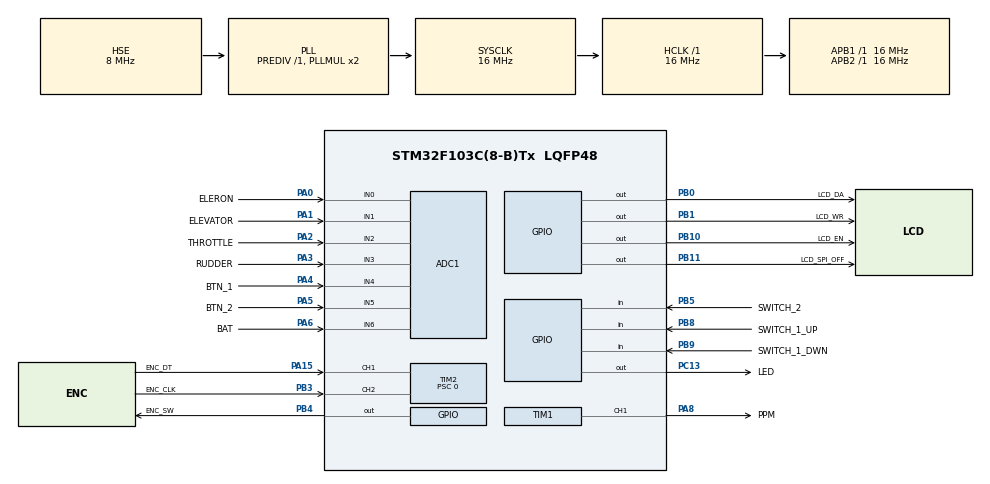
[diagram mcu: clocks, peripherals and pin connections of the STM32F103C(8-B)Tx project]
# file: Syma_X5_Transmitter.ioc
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ADC1.Channel-0\#ChannelRegularConversion=ADC_CHANNEL_0
ADC1.Channel-1\#ChannelRegularConversion=ADC_CHANNEL_1
ADC1.Channel-2\#ChannelRegularConversion=ADC_CHANNEL_2
ADC1.Channel-3\#ChannelRegularConversion=ADC_CHANNEL_3
ADC1.Channel-4\#ChannelRegularConversion=ADC_CHANNEL_4
ADC1.Channel-5\#ChannelRegularConversion=ADC_CHANNEL_5
ADC1.Channel-6\#ChannelRegularConversion=ADC_CHANNEL_6
ADC1.ContinuousConvMode=ENABLE
ADC1.NbrOfConversion=7
ADC1.NbrOfConversionFlag=1
ADC1.Rank-0\#ChannelRegularConversion=1
ADC1.Rank-1\#ChannelRegularConversion=2
ADC1.Rank-2\#ChannelRegularConversion=3
ADC1.Rank-3\#ChannelRegularConversion=4
ADC1.Rank-4\#ChannelRegularConversion=5
ADC1.Rank-5\#ChannelRegularConversion=6
ADC1.Rank-6\#ChannelRegularConversion=7
ADC1.SamplingTime-0\#ChannelRegularConversion=ADC_SAMPLETIME_239CYCLES_5
ADC1.SamplingTime-1\#ChannelRegularConversion=ADC_SAMPLETIME_239CYCLES_5
ADC1.SamplingTime-2\#ChannelRegularConversion=ADC_SAMPLETIME_239CYCLES_5
ADC1.SamplingTime-3\#ChannelRegularConversion=ADC_SAMPLETIME_239CYCLES_5
ADC1.SamplingTime-4\#ChannelRegularConversion=ADC_SAMPLETIME_239CYCLES_5
ADC1.SamplingTime-5\#ChannelRegularConversion=ADC_SAMPLETIME_239CYCLES_5
ADC1.SamplingTime-6\#ChannelRegularConversion=ADC_SAMPLETIME_239CYCLES_5
ADC1.master=1
Dma.ADC1.0.Direction=DMA_PERIPH_TO_MEMORY
Dma.ADC1.0.Instance=DMA1_Channel1
Dma.ADC1.0.MemDataAlignment=DMA_MDATAALIGN_HALFWORD
Dma.ADC1.0.MemInc=DMA_MINC_ENABLE
Dma.ADC1.0.Mode=DMA_CIRCULAR
Dma.ADC1.0.PeriphDataAlignment=DMA_PDATAALIGN_HALFWORD
Dma.ADC1.0.PeriphInc=DMA_PINC_DISABLE
Dma.ADC1.0.Priority=DMA_PRIORITY_MEDIUM
Dma.Request0=ADC1
FREERTOS.Tasks01=defaultTask,0,128,StartDefaultTask,Default,NULL,Dynamic,NULL,NULL;MenyTask,0,128,StartMenuTask,Default,NULL,Dynamic,NULL,NULL;BtnTask,0,128,StartBtnTask,Default,NULL,Dynamic,NULL,NULL
Mcu.Family=STM32F1
Mcu.Name=STM32F103C(8-B)Tx
Mcu.Package=LQFP48
NVIC.DMA1_Channel1_IRQn=true\:5\:0\:false\:false\:true\:true\:false
NVIC.PriorityGroup=NVIC_PRIORITYGROUP_4
NVIC.TIM1_UP_IRQn=true\:5\:0\:false\:false\:true\:true\:true
NVIC.TIM4_IRQn=true\:0\:0\:false\:false\:true\:false\:false
NVIC.TimeBase=TIM4_IRQn
NVIC.TimeBaseIP=TIM4
PA0-WKUP.GPIO_Label=ELERON
PA0-WKUP.Signal=ADCx_IN0
PA1.GPIO_Label=ELEVATOR
PA1.Signal=ADCx_IN1
PA13.Mode=Serial_Wire
PA13.Signal=SYS_JTMS-SWDIO
PA14.Mode=Serial_Wire
PA14.Signal=SYS_JTCK-SWCLK
PA15.GPIO_Label=ENC_DT
PA15.Signal=S_TIM2_CH1_ETR
PA2.GPIO_Label=THROTTLE
PA2.Signal=ADCx_IN2
PA3.GPIO_Label=RUDDER
PA3.Signal=ADCx_IN3
PA4.GPIO_Label=BTN_1
PA4.Signal=ADCx_IN4
PA5.GPIO_Label=BTN_2
PA5.Signal=ADCx_IN5
PA6.GPIO_Label=BAT
PA6.Signal=ADCx_IN6
PA8.GPIO_Label=PPM
PA8.Signal=S_TIM1_CH1
PB0.GPIO_Label=LCD_DA
PB0.GPIO_ModeDefaultOutputPP=GPIO_MODE_OUTPUT_OD
PB0.GPIO_Speed=GPIO_SPEED_FREQ_MEDIUM
PB0.PinState=GPIO_PIN_SET
PB0.Signal=GPIO_Output
PB1.GPIO_Label=LCD_WR
PB1.GPIO_ModeDefaultOutputPP=GPIO_MODE_OUTPUT_OD
PB1.GPIO_Speed=GPIO_SPEED_FREQ_MEDIUM
PB1.PinState=GPIO_PIN_SET
PB1.Signal=GPIO_Output
PB10.GPIO_Label=LCD_EN
PB10.GPIO_ModeDefaultOutputPP=GPIO_MODE_OUTPUT_OD
PB10.PinState=GPIO_PIN_SET
PB10.Signal=GPIO_Output
PB11.GPIO_Label=LCD_SPI_OFF
PB11.GPIO_ModeDefaultOutputPP=GPIO_MODE_OUTPUT_PP
PB11.PinState=GPIO_PIN_SET
PB11.Signal=GPIO_Output
PB3.GPIO_Label=ENC_CLK
PB3.Signal=S_TIM2_CH2
PB4.GPIO_Label=ENC_SW
PB4.GPIO_Speed=GPIO_SPEED_FREQ_MEDIUM
PB4.PinState=GPIO_PIN_SET
PB4.Signal=GPIO_Output
PB5.GPIO_Label=SWITCH_2
PB5.GPIO_PuPd=GPIO_PULLUP
PB5.Signal=GPIO_Input
PB8.GPIO_Label=SWITCH_1_UP
PB8.GPIO_PuPd=GPIO_PULLUP
PB8.Signal=GPIO_Input
PB9.GPIO_Label=SWITCH_1_DWN
PB9.GPIO_PuPd=GPIO_PULLUP
PB9.Signal=GPIO_Input
PC13-TAMPER-RTC.GPIO_Label=LED
PC13-TAMPER-RTC.Signal=GPIO_Output
PD0-OSC_IN.Mode=HSE-External-Oscillator
PD0-OSC_IN.Signal=RCC_OSC_IN
PD1-OSC_OUT.Mode=HSE-External-Oscillator
PD1-OSC_OUT.Signal=RCC_OSC_OUT
ProjectManager.HeapSize=0x200
ProjectManager.StackSize=0x400
ProjectManager.TargetToolchain=MDK-ARM V5
RCC.AHBFreq_Value=16000000
RCC.APB1Freq_Value=16000000
RCC.APB1TimFreq_Value=16000000
RCC.APB2Freq_Value=16000000
RCC.APB2TimFreq_Value=16000000
RCC.HCLKFreq_Value=16000000
RCC.PLLSourceVirtual=RCC_PLLSOURCE_HSE
RCC.SYSCLKFreq_VALUE=16000000
RCC.SYSCLKSource=RCC_SYSCLKSOURCE_PLLCLK
RCC.USBFreq_Value=16000000
RCC.VDD_VALUE=3
SH.ADCx_IN0.0=ADC1_IN0,IN0
SH.ADCx_IN1.0=ADC1_IN1,IN1
SH.ADCx_IN2.0=ADC1_IN2,IN2
SH.ADCx_IN3.0=ADC1_IN3,IN3
SH.ADCx_IN4.0=ADC1_IN4,IN4
SH.ADCx_IN5.0=ADC1_IN5,IN5
SH.ADCx_IN6.0=ADC1_IN6,IN6
SH.S_TIM1_CH1.0=TIM1_CH1,PWM Generation1 CH1
SH.S_TIM2_CH1_ETR.0=TIM2_CH1,Encoder_Interface
SH.S_TIM2_CH2.0=TIM2_CH2,Encoder_Interface
TIM1.Channel-PWM\ Generation1\ CH1=TIM_CHANNEL_1
TIM1.OCPolarity_1=TIM_OCPOLARITY_LOW
TIM1.Prescaler=15
TIM2.EncoderMode=TIM_ENCODERMODE_TI12
TIM2.IC1Filter=5
TIM2.IC1Prescaler=TIM_ICPSC_DIV2
TIM2.IC2Filter=5
TIM2.IC2Prescaler=TIM_ICPSC_DIV2
TIM2.Period=15999
TIM2.Prescaler=0
VP_FREERTOS_VS_ENABLE.Mode=Enabled
VP_SYS_VS_tim4.Mode=TIM4
VP_TIM1_VS_ClockSourceINT.Mode=Internal
board=custom

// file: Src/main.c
/* USER CODE BEGIN Header */
/**
  ******************************************************************************
  * @file           : main.c
  * @brief          : Main program body
  ******************************************************************************
  * This notice applies to any and all portions of this file
  * that are not between comment pairs USER CODE BEGIN and
  * USER CODE END. Other portions of this file, whether
  * inserted by the user or by software development tools
  * are owned by their respective copyright owners.
  *
  * Copyright (c) 2019 STMicroelectronics International N.V.
  * All rights reserved.
  *
  * Redistribution and use in source and binary forms, with or without
  * modification, are permitted, provided that the following conditions are met:
  *
  * 1. Redistribution of source code must retain the above copyright notice,
  *    this list of conditions and the following disclaimer.
  * 2. Redistributions in binary form must reproduce the above copyright notice,
  *    this list of conditions and the following disclaimer in the documentation
  *    and/or other materials provided with the distribution.
  * 3. Neither the name of STMicroelectronics nor the names of other
  *    contributors to this software may be used to endorse or promote products
  *    derived from this software without specific written permission.
  * 4. This software, including modifications and/or derivative works of this
  *    software, must execute solely and exclusively on microcontroller or
  *    microprocessor devices manufactured by or for STMicroelectronics.
  * 5. Redistribution and use of this software other than as permitted under
  *    this license is void and will automatically terminate your rights under
  *    this license.
  *
  * THIS SOFTWARE IS PROVIDED BY STMICROELECTRONICS AND CONTRIBUTORS "AS IS"
  * AND ANY EXPRESS, IMPLIED OR STATUTORY WARRANTIES, INCLUDING, BUT NOT
  * LIMITED TO, THE IMPLIED WARRANTIES OF MERCHANTABILITY, FITNESS FOR A
  * PARTICULAR PURPOSE AND NON-INFRINGEMENT OF THIRD PARTY INTELLECTUAL PROPERTY
  * RIGHTS ARE DISCLAIMED TO THE FULLEST EXTENT PERMITTED BY LAW. IN NO EVENT
  * SHALL STMICROELECTRONICS OR CONTRIBUTORS BE LIABLE FOR ANY DIRECT, INDIRECT,
  * INCIDENTAL, SPECIAL, EXEMPLARY, OR CONSEQUENTIAL DAMAGES (INCLUDING, BUT NOT
  * LIMITED TO, PROCUREMENT OF SUBSTITUTE GOODS OR SERVICES; LOSS OF USE, DATA,
  * OR PROFITS; OR BUSINESS INTERRUPTION) HOWEVER CAUSED AND ON ANY THEORY OF
  * LIABILITY, WHETHER IN CONTRACT, STRICT LIABILITY, OR TORT (INCLUDING
  * NEGLIGENCE OR OTHERWISE) ARISING IN ANY WAY OUT OF THE USE OF THIS SOFTWARE,
  * EVEN IF ADVISED OF THE POSSIBILITY OF SUCH DAMAGE.
  *
  ******************************************************************************
  */
/* USER CODE END Header */

#include "main.h"
#include "cmsis_os.h"
#include "adc.h"
#include "dma.h"
#include "tim.h"
#include "gpio.h"

void SystemClock_Config(void);
void MX_FREERTOS_Init(void);

int main(void)
{

  /* MCU Configuration--------------------------------------------------------*/

  /* Reset of all peripherals, Initializes the Flash interface and the Systick. */
  HAL_Init();

  /* Configure the system clock */
  SystemClock_Config();

  /* Initialize all configured peripherals */
  MX_GPIO_Init();
  MX_DMA_Init();
  MX_ADC1_Init();
  MX_TIM1_Init();
  MX_TIM2_Init();
  /* USER CODE BEGIN 2 */

	HAL_Delay(500);

  /* USER CODE END 2 */

  /* Call init function for freertos objects (in freertos.c) */
  MX_FREERTOS_Init();

  /* Start scheduler */
  osKernelStart();

  /* We should never get here as control is now taken by the scheduler */

  /* Infinite loop */
  while (1)
  {

  }
}

void SystemClock_Config(void)
{
  RCC_OscInitTypeDef RCC_OscInitStruct = {0};
  RCC_ClkInitTypeDef RCC_ClkInitStruct = {0};
  RCC_PeriphCLKInitTypeDef PeriphClkInit = {0};

  /**Initializes the CPU, AHB and APB busses clocks
  */
  RCC_OscInitStruct.OscillatorType = RCC_OSCILLATORTYPE_HSE;
  RCC_OscInitStruct.HSEState = RCC_HSE_ON;
  RCC_OscInitStruct.HSEPredivValue = RCC_HSE_PREDIV_DIV1;
  RCC_OscInitStruct.HSIState = RCC_HSI_ON;
  RCC_OscInitStruct.PLL.PLLState = RCC_PLL_ON;
  RCC_OscInitStruct.PLL.PLLSource = RCC_PLLSOURCE_HSE;
  RCC_OscInitStruct.PLL.PLLMUL = RCC_PLL_MUL2;
  if (HAL_RCC_OscConfig(&RCC_OscInitStruct) != HAL_OK)
  {
    Error_Handler();
  }
  /**Initializes the CPU, AHB and APB busses clocks
  */
  RCC_ClkInitStruct.ClockType = RCC_CLOCKTYPE_HCLK|RCC_CLOCKTYPE_SYSCLK
                              |RCC_CLOCKTYPE_PCLK1|RCC_CLOCKTYPE_PCLK2;
  RCC_ClkInitStruct.SYSCLKSource = RCC_SYSCLKSOURCE_PLLCLK;
  RCC_ClkInitStruct.AHBCLKDivider = RCC_SYSCLK_DIV1;
  RCC_ClkInitStruct.APB1CLKDivider = RCC_HCLK_DIV1;
  RCC_ClkInitStruct.APB2CLKDivider = RCC_HCLK_DIV1;

  if (HAL_RCC_ClockConfig(&RCC_ClkInitStruct, FLASH_LATENCY_0) != HAL_OK)
  {
    Error_Handler();
  }
  PeriphClkInit.PeriphClockSelection = RCC_PERIPHCLK_ADC;
  PeriphClkInit.AdcClockSelection = RCC_ADCPCLK2_DIV2;
  if (HAL_RCCEx_PeriphCLKConfig(&PeriphClkInit) != HAL_OK)
  {
    Error_Handler();
  }
}

void HAL_TIM_PeriodElapsedCallback(TIM_HandleTypeDef *htim)
{
  if (htim->Instance == TIM4) {
    HAL_IncTick();
  }
}

void Error_Handler(void)
{
}

/************************ (C) COPYRIGHT STMicroelectronics *****END OF FILE****/

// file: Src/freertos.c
/* USER CODE BEGIN Header */
/**
  ******************************************************************************
  * File Name          : freertos.c
  * Description        : Code for freertos applications
  ******************************************************************************
  * This notice applies to any and all portions of this file
  * that are not between comment pairs USER CODE BEGIN and
  * USER CODE END. Other portions of this file, whether
  * inserted by the user or by software development tools
  * are owned by their respective copyright owners.
  *
  * Copyright (c) 2019 STMicroelectronics International N.V.
  * All rights reserved.
  *
  * Redistribution and use in source and binary forms, with or without
  * modification, are permitted, provided that the following conditions are met:
  *
  * 1. Redistribution of source code must retain the above copyright notice,
  *    this list of conditions and the following disclaimer.
  * 2. Redistributions in binary form must reproduce the above copyright notice,
  *    this list of conditions and the following disclaimer in the documentation
  *    and/or other materials provided with the distribution.
  * 3. Neither the name of STMicroelectronics nor the names of other
  *    contributors to this software may be used to endorse or promote products
  *    derived from this software without specific written permission.
  * 4. This software, including modifications and/or derivative works of this
  *    software, must execute solely and exclusively on microcontroller or
  *    microprocessor devices manufactured by or for STMicroelectronics.
  * 5. Redistribution and use of this software other than as permitted under
  *    this license is void and will automatically terminate your rights under
  *    this license.
  *
  * THIS SOFTWARE IS PROVIDED BY STMICROELECTRONICS AND CONTRIBUTORS "AS IS"
  * AND ANY EXPRESS, IMPLIED OR STATUTORY WARRANTIES, INCLUDING, BUT NOT
  * LIMITED TO, THE IMPLIED WARRANTIES OF MERCHANTABILITY, FITNESS FOR A
  * PARTICULAR PURPOSE AND NON-INFRINGEMENT OF THIRD PARTY INTELLECTUAL PROPERTY
  * RIGHTS ARE DISCLAIMED TO THE FULLEST EXTENT PERMITTED BY LAW. IN NO EVENT
  * SHALL STMICROELECTRONICS OR CONTRIBUTORS BE LIABLE FOR ANY DIRECT, INDIRECT,
  * INCIDENTAL, SPECIAL, EXEMPLARY, OR CONSEQUENTIAL DAMAGES (INCLUDING, BUT NOT
  * LIMITED TO, PROCUREMENT OF SUBSTITUTE GOODS OR SERVICES; LOSS OF USE, DATA,
  * OR PROFITS; OR BUSINESS INTERRUPTION) HOWEVER CAUSED AND ON ANY THEORY OF
  * LIABILITY, WHETHER IN CONTRACT, STRICT LIABILITY, OR TORT (INCLUDING
  * NEGLIGENCE OR OTHERWISE) ARISING IN ANY WAY OUT OF THE USE OF THIS SOFTWARE,
  * EVEN IF ADVISED OF THE POSSIBILITY OF SUCH DAMAGE.
  *
  ******************************************************************************
  */
/* USER CODE END Header */

#include "FreeRTOS.h"
#include "task.h"
#include "main.h"
#include "cmsis_os.h"

/* USER CODE BEGIN Includes */
#include "LCD_baomei_bm-8001b.h"
#include "tim.h"
#include "adc.h"
#include "dma.h"
#include "math.h"
/* USER CODE END Includes */

/* USER CODE BEGIN PD */
#define SWITCH_2 HAL_GPIO_ReadPin(SWITCH_2_GPIO_Port, SWITCH_2_Pin) == GPIO_PIN_RESET

#define SW1_UP   HAL_GPIO_ReadPin(SWITCH_1_UP_GPIO_Port, SWITCH_1_UP_Pin)
#define SW1_DOWN HAL_GPIO_ReadPin(SWITCH_1_DWN_GPIO_Port, SWITCH_1_DWN_Pin)

#define PWM TIM1->CCR1
#define ARR TIM1->ARR

#define BTN(x,y) (x>(y-100))&&(x<(y+100))

#define RUD_R 1390
#define RUD_L 2048

#define THR_UP 0
#define THR_DOWN 700

#define BTN_TOP 2740

#define ELV_UP 0
#define ELV_DOWN 700

#define ELR_L 2090
#define ELR_R 1390

/* USER CODE END PD */

/* USER CODE BEGIN Variables */
uint8_t TrainerActive = 0;

int8_t EncoderTmp = 0, Encoder = 0;

//----------------ADC--------------------//
uint16_t ADC_Data[7];
float alpha = 0.2;
uint16_t i = 0;
extern uint16_t channel[9];

struct channel_t {
	float inMin;
	float inCent;
	float inMax;
	float outMin;
	float outCent;
	float outMax;
	float koefUp;
	float koefDown;
	float koefUpOut;
	float koefDownOut;
	float exponent;
	float rate;
	float output;
	uint8_t inverse;
};

struct channel_t ch1, ch2, ch3, ch4;

struct button_t {
	uint8_t down;
	uint8_t up;
	uint16_t downTime;
	uint16_t upTime;
	uint8_t read;
};

struct button_t
	trimCh3 = {0,0,0,1,0},
	trimCh4L = {0,0,0,1,0},
	trimCh4R = {0,0,0,1,0},
	trimCh1L = {0,0,0,1,0},
	trimCh1R = {0,0,0,1,0},
	trimCh2U = {0,0,0,1,0},
	trimCh2D = {0,0,0,1,0},
	btnL    = {0,0,0,1,0},
	btnR    = {0,0,0,1,0};

uint16_t BtnLeft, BtnRight;
uint8_t switch1 = 0;
uint16_t ADC_Calibrate_0 = 0, ADC_Calibrate_1 = 0, ADC_Calibrate_2 = 0, ADC_Calibrate_3 = 0;
//----------------ADC--------------------//
/* USER CODE END Variables */
osThreadId defaultTaskHandle;
osThreadId MenyTaskHandle;
osThreadId BtnTaskHandle;

/* USER CODE BEGIN FunctionPrototypes */

void adcInit(void);
void adcWork(void);
void encoderWork(void);
void init(struct channel_t *ch);
float calc(float input, struct channel_t *ch);
void button(void);

/* USER CODE END FunctionPrototypes */

void StartDefaultTask(void const * argument);
void StartMenuTask(void const * argument);
void StartBtnTask(void const * argument);

void MX_FREERTOS_Init(void); /* (MISRA C 2004 rule 8.1) */

void MX_FREERTOS_Init(void) {

  /* Create the thread(s) */
  /* definition and creation of defaultTask */
  osThreadDef(defaultTask, StartDefaultTask, osPriorityNormal, 0, 128);
  defaultTaskHandle = osThreadCreate(osThread(defaultTask), NULL);

  /* definition and creation of MenyTask */
  osThreadDef(MenyTask, StartMenuTask, osPriorityNormal, 0, 128);
  MenyTaskHandle = osThreadCreate(osThread(MenyTask), NULL);

  /* definition and creation of BtnTask */
  osThreadDef(BtnTask, StartBtnTask, osPriorityNormal, 0, 128);
  BtnTaskHandle = osThreadCreate(osThread(BtnTask), NULL);

}

void StartDefaultTask(void const * argument)
{

  /* USER CODE BEGIN StartDefaultTask */
  /* Infinite loop */
  for(;;)
  {
		if (TrainerActive) {
			LCD_Update();

			if ((SW1_UP == GPIO_PIN_SET) && (SW1_DOWN == GPIO_PIN_SET)) {
				switch1 = 1;
				ch1.rate = 0.8;
				ch2.rate = 0.8;
				ch4.rate = 0.8;
			} else if ((SW1_UP == GPIO_PIN_RESET) && (SW1_DOWN == GPIO_PIN_SET)) {
				switch1 = 0;
				ch1.rate = 1;
				ch2.rate = 1;
				ch4.rate = 1;
			} else if ((SW1_UP == GPIO_PIN_SET) && (SW1_DOWN == GPIO_PIN_RESET)) {
				switch1 = 2;
				ch1.rate = 0.6;
				ch2.rate = 0.6;
				ch4.rate = 0.6;
			}
		}
    osDelay(10);
  }
  /* USER CODE END StartDefaultTask */
}

void StartMenuTask(void const * argument)
{
  for(;;)
  {
    osDelay(1);
  }
}

void StartBtnTask(void const * argument)
{
  /* USER CODE BEGIN StartBtnTask */
  /* Infinite loop */
  for(;;)
  {

		if (SWITCH_2) {
			LCD_On();
			if (!TrainerActive) {
				TrainerActive = 1;
				HAL_TIM_Encoder_Start(&htim2,TIM_CHANNEL_ALL);
				TIM2->CNT = 20;

				while(HAL_ADCEx_Calibration_Start(&hadc1) != HAL_OK); // калибровка АЦП

				HAL_ADC_Start_DMA(&hadc1,(uint32_t*) &ADC_Data, 7);

				adcInit();

				ch3.exponent = (50.0/100.0)*1.0;

				HAL_TIM_PWM_Start(&htim1, TIM_CHANNEL_1);
				HAL_TIM_Base_Start_IT(&htim1);
				PWM = 400;
				ARR = 1500; // ARR 110 - 1.11mS, 150 - 1.51mS, 192 - 1.931mS
			}

			encoderWork();

			adcWork();

			BtnLeft = ADC_Data[4];
			BtnRight = ADC_Data[5];

			button();

			LcdNumber((uint8_t) Encoder);
			//LCD_Update();
		} else {
			LCD_Off();
			HAL_TIM_Encoder_Stop(&htim2, TIM_CHANNEL_ALL);
			HAL_ADC_Stop_DMA(&hadc1);
			TrainerActive = 0;

			HAL_TIM_PWM_Stop(&htim1, TIM_CHANNEL_1);
			HAL_TIM_Base_Stop_IT(&htim1);
		}

    osDelay(1);
  }
  /* USER CODE END StartBtnTask */
}

/* USER CODE BEGIN Application */
void init(struct channel_t *ch) {
	ch->inMin = 0.0;
	ch->inCent = 2048.0;
	ch->inMax = 4085.0;

	ch->outMin = 1108.0;
	ch->outCent = 1520.0;
	ch->outMax = 1933.0;

	ch->inverse = 0;
	ch->rate = 1;

	ch->koefUp = ch->inMax-ch->inCent;
  ch->koefDown = ch->inCent - ch->inMin;
  ch->koefUpOut = ch->outMax - ch->outCent;
  ch->koefDownOut = ch->outCent - ch->outMin;
	ch->exponent = (50.0/100.0)*40.0;
}

void trim(struct channel_t *ch, int8_t value) {
	ch->outCent += value;

	ch->koefUp = ch->inMax-ch->inCent;
  ch->koefDown = ch->inCent - ch->inMin;
  ch->koefUpOut = ch->outMax - ch->outCent;
  ch->koefDownOut = ch->outCent - ch->outMin;
}

float calc(float input, struct channel_t *ch) {

	if (ch->inverse) {
		input = ch->inMax - input;
	}

	float tmp;

  if (input >= ch->inCent) {
    tmp = ((float)input - ch->inCent) / ch->koefUp;
    tmp = (powf(ch->exponent,tmp)-1.0)/(ch->exponent-1.0);
    tmp = (tmp * (ch->koefUpOut * ch->rate)) + ch->outCent;
  } else {
    tmp = (ch->inCent - (float)input) / ch->koefDown;
    tmp = (powf(ch->exponent,tmp)-1.0)/(ch->exponent-1.0);
    tmp = ch->outCent - (tmp * (ch->koefDownOut * ch-> rate));
  }

  return roundf(tmp);
}

void adcInit() {
	i = 0;
	while (i < 100) {
		i++;
		ADC_Calibrate_0 = (alpha * ADC_Data[0]) + ((1 - alpha) * ADC_Calibrate_0);
		ADC_Calibrate_1 = (alpha * ADC_Data[1]) + ((1 - alpha) * ADC_Calibrate_1);
		ADC_Calibrate_2 = (alpha * ADC_Data[2]) + ((1 - alpha) * ADC_Calibrate_2);
		ADC_Calibrate_3 = (alpha * ADC_Data[3]) + ((1 - alpha) * ADC_Calibrate_3);

		HAL_Delay(10);
	}
	ch1.inCent = ADC_Calibrate_0;
	ch2.inCent = ADC_Calibrate_1;
	ch3.inCent = ADC_Calibrate_2;
	ch4.inCent = ADC_Calibrate_3;

	init(&ch1);
	init(&ch2);
	init(&ch3);
	init(&ch4);
}

void adcWork() {
	ADC_Calibrate_0 = (alpha * ADC_Data[0]) + ((1 - alpha) * ADC_Calibrate_0);
	ADC_Calibrate_1 = (alpha * ADC_Data[1]) + ((1 - alpha) * ADC_Calibrate_1);
	ADC_Calibrate_2 = (alpha * ADC_Data[2]) + ((1 - alpha) * ADC_Calibrate_2);
	ADC_Calibrate_3 = (alpha * ADC_Data[3]) + ((1 - alpha) * ADC_Calibrate_3);

	ch1.output = calc((float)ADC_Calibrate_0, &ch1);
	ch2.output = calc((float)ADC_Calibrate_1, &ch2);
	ch3.output = calc((float)ADC_Calibrate_2, &ch3);
	ch4.output = calc((float)ADC_Calibrate_3, &ch4);

	channel[1] = (uint16_t)ch1.output;
	channel[0] = (uint16_t)ch2.output;
	channel[2] = (uint16_t)ch3.output;
	channel[3] = (uint16_t)ch4.output;
}

void encoderWork () {
	if (TIM2->CNT % 4 == 0) {
		if (TIM2->CNT > 20) {
			TIM2->CNT = 20;
			if (Encoder > 0)
				Encoder--;
		} else if (TIM2->CNT < 20){
			TIM2->CNT = 20;
			if (Encoder < 119)
				Encoder++;
		}
	}
}

void buttonMachine(struct button_t *trimCh, struct channel_t *ch, uint16_t btn, uint16_t btnConst, int8_t value) {
	if (BTN(btn,btnConst)) {
		if (trimCh->down == 0) {
			trimCh->down = 1;
			trimCh->downTime = 0;
			trimCh->read = 0;
		}
		if (trimCh->downTime < 200)
			trimCh->downTime++;
		else {
			trimCh->downTime = 0;
			trimCh->read = 0;
		}
	} else {
		if (trimCh->down == 1 && trimCh->upTime > 10) {
			trimCh->down = 0;
			trimCh->downTime = 0;
			trimCh->read = 0;
		}
		if (trimCh->upTime <100) trimCh->upTime++;
	}

	if (trimCh->down && trimCh->read == 0) {
		trim(ch, value);
		trimCh->read = 1;
	}
}

void button() {

	buttonMachine(&trimCh4L, &ch4, BtnLeft, RUD_L, -4);
	buttonMachine(&trimCh4R, &ch4, BtnLeft, RUD_R, 4);

	buttonMachine(&trimCh1L, &ch1, BtnRight, ELR_L, -4);
	buttonMachine(&trimCh1R, &ch1, BtnRight, ELR_R, 4);

	buttonMachine(&trimCh2U, &ch2, BtnRight, ELV_UP, -4);
	buttonMachine(&trimCh2D, &ch2, BtnRight, ELV_DOWN, 4);

}
/* USER CODE END Application */

/************************ (C) COPYRIGHT STMicroelectronics *****END OF FILE****/
